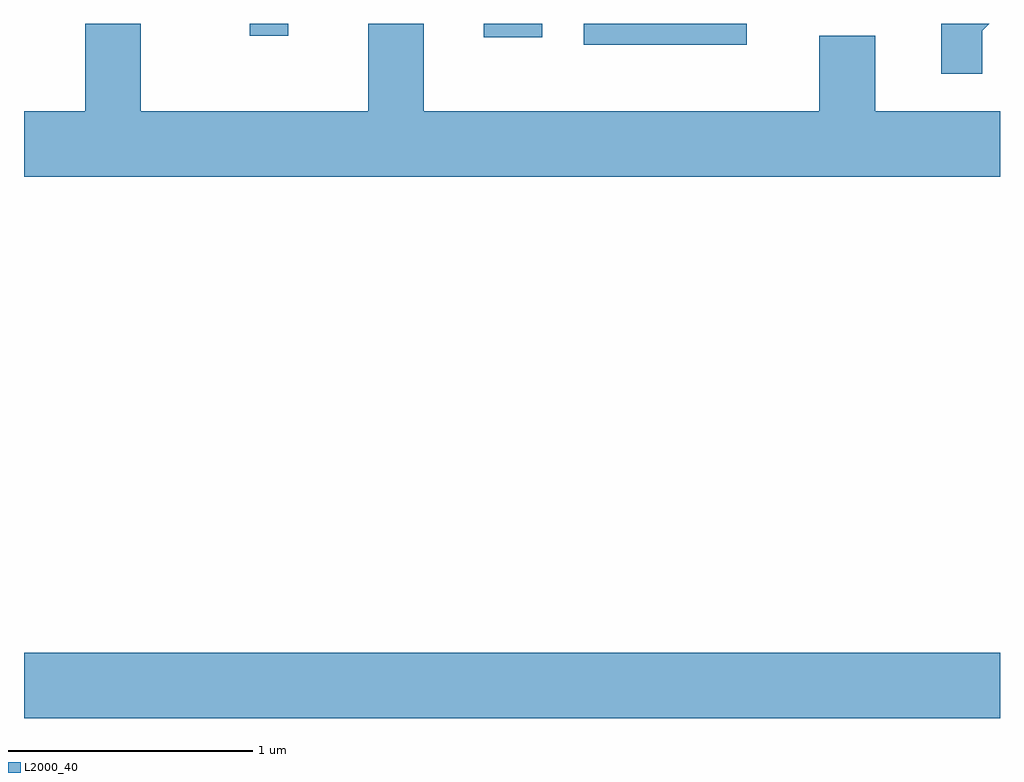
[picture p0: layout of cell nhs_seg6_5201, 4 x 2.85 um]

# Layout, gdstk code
import gdstk
lib = gdstk.Library(unit=1e-6, precision=1e-09)
def R(c, l, rs):  # rectangles x0, y0, x1, y1
    for r in rs: c.add(gdstk.rectangle(r[:2], r[2:], *l))
def P(c, l, *ps):  # polygons
    for p in ps: c.add(gdstk.Polygon(p, *l))
L2000_40 = (2000, 40)

nhs_seg6_5201 = lib.new_cell('nhs_seg6_5201')
R(nhs_seg6_5201, L2000_40, [(343.611,1603.316,347.611,1603.584), (345.906,1606.076,346.574,1606.162), (345.496,1606.106,345.734,1606.162), (344.536,1606.113,344.694,1606.162)])
P(nhs_seg6_5201, L2000_40, [(347.611,1605.804),(347.099,1605.804),(347.099,1606.114),(346.871,1606.114),(346.871,1605.804),(345.249,1605.804),(345.249,1606.162),(345.021,1606.162),(345.021,1605.804),(344.089,1605.804),(344.089,1606.162),(343.861,1606.162),(343.861,1605.804),(343.611,1605.804),(343.611,1605.536),(347.611,1605.536)],
  [(347.539,1606.134),(347.567,1606.162),(347.371,1606.162),(347.371,1605.958),(347.539,1605.958)])

lib.write_gds('nhs_seg6_5201.gds')
